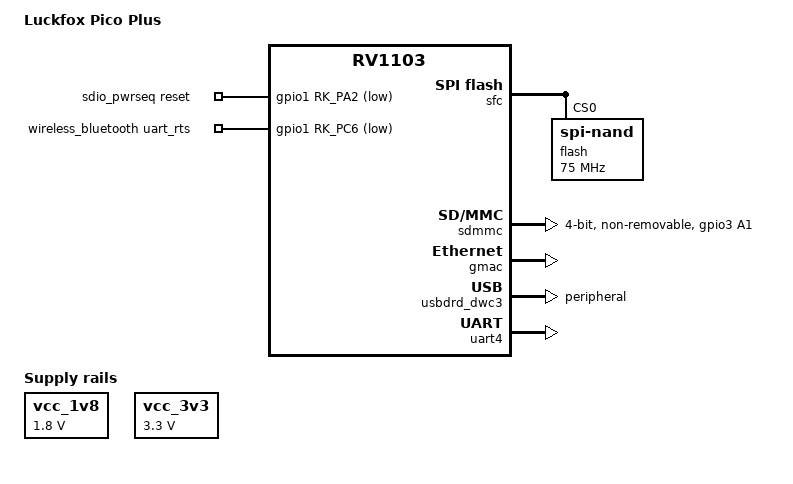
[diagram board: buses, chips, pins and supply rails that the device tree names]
// SPDX-License-Identifier: (GPL-2.0+ OR MIT)
/*
 * Copyright (c) 2022 Rockchip Electronics Co., Ltd.
 */

/dts-v1/;

#include "rv1103.dtsi"
#include "rv1106-evb.dtsi"
#include "rv1103-luckfox-pico-ipc.dtsi"

/ {
	model = "Luckfox Pico Plus";
	compatible = "rockchip,rv1103g-38x38-ipc-v10", "rockchip,rv1103";

	vcc_1v8: vcc-1v8 {
        compatible = "regulator-fixed";
        regulator-name = "vcc_1v8";
        regulator-always-on;
        regulator-boot-on;
        regulator-min-microvolt = <1800000>;
        regulator-max-microvolt = <1800000>;
    };

    vcc_3v3: vcc-3v3 {
        compatible = "regulator-fixed";
        regulator-name = "vcc_3v3";
        regulator-always-on;
        regulator-boot-on;
        regulator-min-microvolt = <3300000>;
        regulator-max-microvolt = <3300000>;
	};
	sdio_pwrseq: sdio-pwrseq {
		compatible = "mmc-pwrseq-simple";
		pinctrl-names = "default";
		reset-gpios = <&gpio1 RK_PA2 GPIO_ACTIVE_LOW>;//随便给的
	};

	wireless_bluetooth: wireless-bluetooth {
		compatible = "bluetooth-platdata";
		uart_rts_gpios = <&gpio1 RK_PC6 GPIO_ACTIVE_LOW>;//对应RTS
		pinctrl-names = "default","rts_gpio";
		pinctrl-0 = <&uart4m1_rtsn>;
		pinctrl-1 = <&uart4_rts_gpio>; /* 定义gpio1 RK_PD0 为蓝牙引脚 */
		
		//keep_bt_power_on;
		/* BT,power_gpio = <&gpio* *** GPIO_ACTIVE_HIGH>; *///这些引脚都没有
		/*BT,power_gpio = <&gpio0 RK_PA2 GPIO_ACTIVE_LOW>;*/
		/*BT,reset_gpio = <&gpio0 RK_PA2 GPIO_ACTIVE_HIGH>;*///STM32 BT_EN
		/*BT,wake_gpio = <&gpio1 RK_PA4 GPIO_ACTIVE_HIGH>;*/
		/*BT,wake_host_irq = <&gpio1 RK_PA4 GPIO_ACTIVE_HIGH>;*/
		
		status = "okay";
	};
};

/**********SFC**********/
&sfc {
	status = "okay";
	flash@0 {
		compatible = "spi-nand";
		reg = <0>;
		spi-max-frequency = <75000000>;
		spi-rx-bus-width = <4>;
		spi-tx-bus-width = <1>;
	};
};

/**********SDIO-WIFI**********/
&sdmmc {
        max-frequency = <50000000>;
        bus-width = <4>;
        cap-sd-highspeed;
        cap-sdio-irq;
        keep-power-in-suspend;
        non-removable;
        rockchip,default-sample-phase = <90>;
        // no-sd;
        // no-mmc;
        supports-sdio;
        mmc-pwrseq = <&sdio_pwrseq>;
        pinctrl-names = "default";
        pinctrl-0 = <&sdmmc0_clk &sdmmc0_cmd &sdmmc0_bus4 &sdmmc0_det>;
        status = "okay";
};

&pinctrl{
	sdmmc0{
		sdmmc0_det: sdmmc0-det {
			rockchip,pins =
				/* sdmmc0_det */
				<3 RK_PA1 1 &pcfg_pull_down>;
		};
  };
  wireless-bluetooth {
    uart4_rts_gpio: uart4_rts_gpio {
        rockchip,pins = <1 RK_PC6 RK_FUNC_GPIO &pcfg_pull_none>;
    };
};
};


/**********ETH**********/
&gmac {
	status = "okay";
};

/**********USB**********/
&usbdrd_dwc3 {
	status = "okay";
	dr_mode = "peripheral";
};

/**********SPI**********/
/* SPI0_M0 */
&spi0 {
	status = "disabled";
	spidev@0 {
		spi-max-frequency = <50000000>;
	};
};

/**********I2C**********/
/* I2C3_M1 */
&i2c3 {
	status = "disabled";
	clock-frequency = <100000>;
};

/* I2C0_M2 */
&i2c0 {
	status = "disabled";
	clock-frequency = <100000>;
};

/**********UART**********/
/* UART3_M1 */
&uart3 {
	status = "disabled";
};

/* UART4_M1 */
&uart4 {
    status = "okay";
    pinctrl-names = "default";
    pinctrl-0 = <&uart4m1_xfer &uart4m1_ctsn>;
};

/**********PWM**********/
/* PWM1_M0 */
&pwm1 {
	status = "disabled";
};
